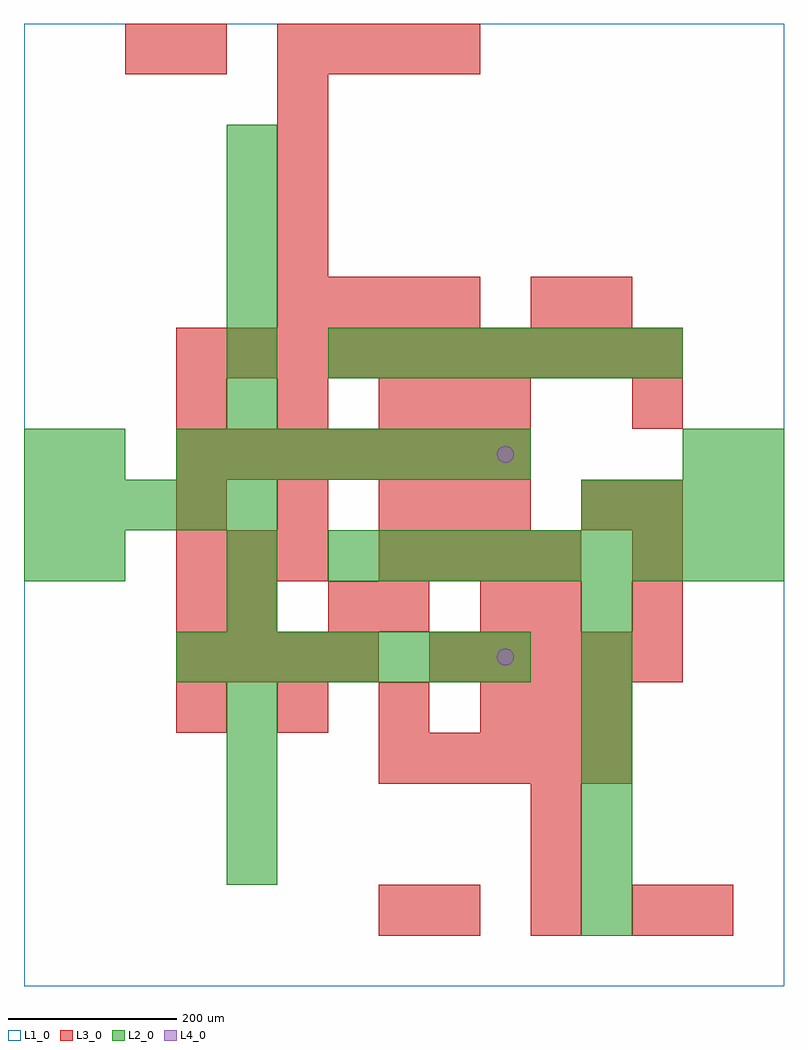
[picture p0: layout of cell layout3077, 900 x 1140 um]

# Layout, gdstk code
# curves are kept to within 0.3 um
import gdstk
lib = gdstk.Library(unit=1e-6, precision=1e-09)
def R(c, l, rs):  # rectangles x0, y0, x1, y1
    for r in rs: c.add(gdstk.rectangle(r[:2], r[2:], *l))
def A(c, l, x, y, w, h, nx, ny, dx, dy):  # array of equal rectangles
    R(c, l, [(x+i*dx, y+j*dy, x+i*dx+w, y+j*dy+h) for i in range(nx) for j in range(ny)])
def P(c, l, *ps):  # polygons
    for p in ps: c.add(gdstk.Polygon(p, *l))
L1_0 = (1, 0)
L2_0 = (2, 0)
L3_0 = (3, 0)
L4_0 = (4, 0)

layout3077 = lib.new_cell('layout3077')
R(layout3077, L1_0, [(0,0,900,1140)])
A(layout3077, L2_0, 660, 60, 60, 60, 1, 7, 0, 60)
A(layout3077, L2_0, 240, 120, 60, 60, 1, 4, 0, 60)
A(layout3077, L2_0, 180, 360, 60, 60, 7, 2, 60, 240)
A(layout3077, L2_0, 360, 480, 60, 60, 9, 1, 60, 0)
A(layout3077, L2_0, 0, 540, 60, 60, 5, 1, 60, 0)
A(layout3077, L2_0, 660, 540, 60, 60, 4, 1, 60, 0)
A(layout3077, L2_0, 240, 660, 60, 60, 1, 6, 0, 60)
A(layout3077, L2_0, 360, 720, 60, 60, 7, 1, 60, 0)
R(layout3077, L2_0, [(240,420,300,480), (0,480,60,540), (60,480,120,540), (240,480,300,540), (0,600,60,660), (60,600,120,660), (780,600,840,660), (840,600,900,660)])
A(layout3077, L3_0, 480, 60, 60, 60, 3, 1, 120, 0)
A(layout3077, L3_0, 600, 180, 60, 60, 1, 3, 0, 120)
A(layout3077, L3_0, 420, 240, 60, 60, 5, 1, 60, 0)
A(layout3077, L3_0, 180, 300, 60, 60, 4, 1, 120, 0)
A(layout3077, L3_0, 660, 300, 60, 60, 1, 3, 0, 240)
A(layout3077, L3_0, 180, 360, 60, 60, 4, 1, 60, 0)
A(layout3077, L3_0, 480, 360, 60, 60, 5, 1, 60, 0)
A(layout3077, L3_0, 540, 420, 60, 60, 1, 3, 0, 120)
A(layout3077, L3_0, 720, 420, 60, 60, 1, 3, 0, 60)
A(layout3077, L3_0, 180, 480, 60, 60, 3, 1, 60, 0)
A(layout3077, L3_0, 420, 480, 60, 60, 4, 1, 60, 0)
A(layout3077, L3_0, 180, 540, 60, 60, 3, 2, 120, 120)
A(layout3077, L3_0, 180, 600, 60, 60, 7, 1, 60, 0)
A(layout3077, L3_0, 180, 720, 60, 60, 10, 1, 60, 0)
A(layout3077, L3_0, 300, 780, 60, 60, 4, 2, 60, 300)
A(layout3077, L3_0, 300, 840, 60, 60, 1, 4, 0, 60)
R(layout3077, L3_0, [(420,60,480,120), (780,60,840,120), (600,120,660,180), (180,420,240,480), (240,420,300,480), (360,420,420,480), (420,420,480,480), (480,540,540,600), (480,660,540,720), (720,660,780,720), (600,780,660,840), (120,1080,180,1140), (180,1080,240,1140)])
P(layout3077, L4_0, [(580,390),(579.239,393.827),(577.071,397.071),(573.827,399.239),(570,400),(566.173,399.239),(562.929,397.071),(560.761,393.827),(560,390),(560.761,386.173),(562.929,382.929),(566.173,380.761),(570,380),(573.827,380.761),(577.071,382.929),(579.239,386.173)],
  [(580,630),(579.239,633.827),(577.071,637.071),(573.827,639.239),(570,640),(566.173,639.239),(562.929,637.071),(560.761,633.827),(560,630),(560.761,626.173),(562.929,622.929),(566.173,620.761),(570,620),(573.827,620.761),(577.071,622.929),(579.239,626.173)])

lib.write_gds('layout3077.gds')
